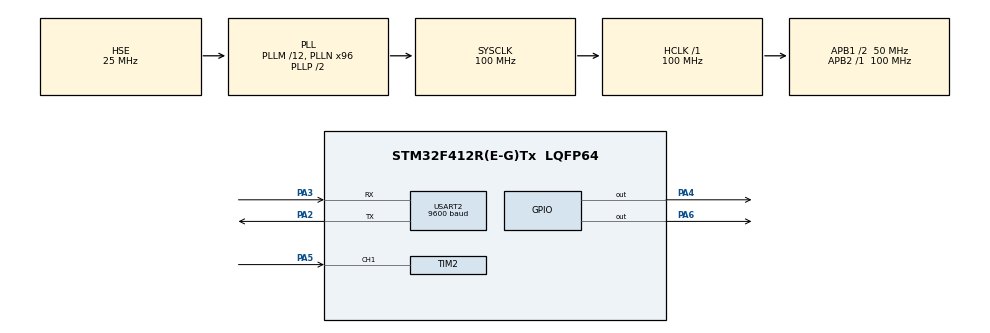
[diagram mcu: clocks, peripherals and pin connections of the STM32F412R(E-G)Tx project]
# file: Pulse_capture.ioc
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Dma.Request0=USART2_RX
Dma.Request1=USART2_TX
Dma.USART2_RX.0.Direction=DMA_PERIPH_TO_MEMORY
Dma.USART2_RX.0.FIFOMode=DMA_FIFOMODE_DISABLE
Dma.USART2_RX.0.Instance=DMA1_Stream5
Dma.USART2_RX.0.MemDataAlignment=DMA_MDATAALIGN_BYTE
Dma.USART2_RX.0.MemInc=DMA_MINC_ENABLE
Dma.USART2_RX.0.Mode=DMA_NORMAL
Dma.USART2_RX.0.PeriphDataAlignment=DMA_PDATAALIGN_BYTE
Dma.USART2_RX.0.PeriphInc=DMA_PINC_DISABLE
Dma.USART2_RX.0.Priority=DMA_PRIORITY_LOW
Dma.USART2_TX.1.Direction=DMA_MEMORY_TO_PERIPH
Dma.USART2_TX.1.FIFOMode=DMA_FIFOMODE_DISABLE
Dma.USART2_TX.1.Instance=DMA1_Stream6
Dma.USART2_TX.1.MemDataAlignment=DMA_MDATAALIGN_BYTE
Dma.USART2_TX.1.MemInc=DMA_MINC_ENABLE
Dma.USART2_TX.1.Mode=DMA_NORMAL
Dma.USART2_TX.1.PeriphDataAlignment=DMA_PDATAALIGN_BYTE
Dma.USART2_TX.1.PeriphInc=DMA_PINC_DISABLE
Dma.USART2_TX.1.Priority=DMA_PRIORITY_LOW
FREERTOS.Queues01=Pulse_Reception_Queue,5,uint8_t,0,Dynamic,NULL,NULL;Pulse_Sending_Queue,5,uint8_t,0,Dynamic,NULL,NULL
FREERTOS.Tasks01=defaultTask,24,128,StartDefaultTask,Default,NULL,Dynamic,NULL,NULL;Pulse_acquisitionTask,8,128,Pulse_acquisition,Default,NULL,Dynamic,NULL,NULL;ScreenTask,8,128,Screen,Default,NULL,Dynamic,NULL,NULL;Screen_TransferTask,8,128,Screen_Transfer,Default,NULL,Dynamic,NULL,NULL
FREERTOS.configMAX_TASK_NAME_LEN=32
Mcu.Family=STM32F4
Mcu.Name=STM32F412R(E-G)Tx
Mcu.Package=LQFP64
NVIC.DMA1_Stream5_IRQn=true\:5\:0\:false\:false\:true\:true\:false\:true\:true
NVIC.DMA1_Stream6_IRQn=true\:5\:0\:false\:false\:true\:true\:false\:true\:true
NVIC.PriorityGroup=NVIC_PRIORITYGROUP_4
NVIC.TIM1_UP_TIM10_IRQn=true\:15\:0\:false\:false\:true\:false\:false\:true\:true
NVIC.TIM2_IRQn=true\:5\:0\:false\:false\:true\:true\:true\:true\:true
NVIC.TimeBase=TIM1_UP_TIM10_IRQn
NVIC.TimeBaseIP=TIM1
NVIC.USART2_IRQn=true\:5\:0\:false\:false\:true\:true\:true\:true\:true
PA13.Mode=JTAG_5_pins
PA13.Signal=SYS_JTMS-SWDIO
PA14.Mode=JTAG_5_pins
PA14.Signal=SYS_JTCK-SWCLK
PA15.Mode=JTAG_5_pins
PA15.Signal=SYS_JTDI
PA2.Mode=Asynchronous
PA2.Signal=USART2_TX
PA3.Mode=Asynchronous
PA3.Signal=USART2_RX
PA4.Signal=GPIO_Output
PA5.GPIO_PuPd=GPIO_PULLDOWN
PA5.Signal=S_TIM2_CH1_ETR
PA6.Signal=GPIO_Output
PB3.Mode=JTAG_5_pins
PB3.Signal=SYS_JTDO-SWO
PB4.Mode=JTAG_5_pins
PB4.Signal=SYS_JTRST
PH0\ -\ OSC_IN.Mode=HSE-External-Oscillator
PH0\ -\ OSC_IN.Signal=RCC_OSC_IN
PH1\ -\ OSC_OUT.Mode=HSE-External-Oscillator
PH1\ -\ OSC_OUT.Signal=RCC_OSC_OUT
ProjectManager.HeapSize=0x200
ProjectManager.StackSize=0x400
ProjectManager.TargetToolchain=MDK-ARM V5.32
RCC.AHBFreq_Value=100000000
RCC.APB1CLKDivider=RCC_HCLK_DIV2
RCC.APB1Freq_Value=50000000
RCC.APB1TimFreq_Value=100000000
RCC.APB2Freq_Value=100000000
RCC.APB2TimFreq_Value=100000000
RCC.CortexFreq_Value=100000000
RCC.HCLKFreq_Value=100000000
RCC.PLLM=12
RCC.PLLN=96
RCC.PLLSourceVirtual=RCC_PLLSOURCE_HSE
RCC.SYSCLKFreq_VALUE=100000000
RCC.SYSCLKSource=RCC_SYSCLKSOURCE_PLLCLK
RCC.USBFreq_Value=100000000
RCC.VCOOutputFreq_Value=200000000
SH.S_TIM2_CH1_ETR.0=TIM2_CH1,Input_Capture1_from_TI1
TIM2.Channel-Input_Capture1_from_TI1=TIM_CHANNEL_1
TIM2.ICPolarity_CH1=TIM_INPUTCHANNELPOLARITY_BOTHEDGE
TIM2.Period=999
TIM2.Prescaler=99
USART2.BaudRate=9600
USART2.VirtualMode=VM_ASYNC
VP_FREERTOS_VS_CMSIS_V2.Mode=CMSIS_V2
VP_SYS_VS_tim1.Mode=TIM1
board=custom

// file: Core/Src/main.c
/* USER CODE BEGIN Header */
/**
  ******************************************************************************
  * @file           : main.c
  * @brief          : Main program body
  ******************************************************************************
  * @attention
  *
  * Copyright (c) 2024 STMicroelectronics.
  * All rights reserved.
  *
  * This software is licensed under terms that can be found in the LICENSE file
  * in the root directory of this software component.
  * If no LICENSE file comes with this software, it is provided AS-IS.
  *
  ******************************************************************************
  */
/* USER CODE END Header */
#include "main.h"
#include "cmsis_os.h"
#include "dma.h"
#include "tim.h"
#include "usart.h"
#include "gpio.h"

/* USER CODE BEGIN Includes */
#include "tjc_usart_hmi.h"
/* USER CODE END Includes */

void SystemClock_Config(void);
void MX_FREERTOS_Init(void);

int main(void)
{

  /* MCU Configuration--------------------------------------------------------*/

  /* Reset of all peripherals, Initializes the Flash interface and the Systick. */
  HAL_Init();

  /* Configure the system clock */
  SystemClock_Config();

  /* Initialize all configured peripherals */
  MX_GPIO_Init();
  MX_DMA_Init();
  MX_TIM2_Init();
  MX_USART2_UART_Init();
  /* USER CODE BEGIN 2 */
	HAL_TIM_IC_Start_IT(&htim2,TIM_CHANNEL_1);		//开启定时器2通道一的捕获中断
	__HAL_TIM_ENABLE_IT(&htim2,TIM_IT_UPDATE);    //使能更新中断
	initRingBuff();																//初始化环形缓存区
	HAL_UART_Receive_IT(&huart2,RxBuff,1);				//打开串口接收中断
	TJCPrintf("0x00");         							  		//为确保串口HMI正常通信
  /* USER CODE END 2 */

  /* Init scheduler */
  osKernelInitialize();  /* Call init function for freertos objects (in freertos.c) */
  MX_FREERTOS_Init();

  /* Start scheduler */
  osKernelStart();

  /* We should never get here as control is now taken by the scheduler */
  /* Infinite loop */
  while (1)
  {

  }
}

void SystemClock_Config(void)
{
  RCC_OscInitTypeDef RCC_OscInitStruct = {0};
  RCC_ClkInitTypeDef RCC_ClkInitStruct = {0};

  /** Configure the main internal regulator output voltage
  */
  __HAL_RCC_PWR_CLK_ENABLE();
  __HAL_PWR_VOLTAGESCALING_CONFIG(PWR_REGULATOR_VOLTAGE_SCALE1);

  /** Initializes the RCC Oscillators according to the specified parameters
  * in the RCC_OscInitTypeDef structure.
  */
  RCC_OscInitStruct.OscillatorType = RCC_OSCILLATORTYPE_HSE;
  RCC_OscInitStruct.HSEState = RCC_HSE_ON;
  RCC_OscInitStruct.PLL.PLLState = RCC_PLL_ON;
  RCC_OscInitStruct.PLL.PLLSource = RCC_PLLSOURCE_HSE;
  RCC_OscInitStruct.PLL.PLLM = 12;
  RCC_OscInitStruct.PLL.PLLN = 96;
  RCC_OscInitStruct.PLL.PLLP = RCC_PLLP_DIV2;
  RCC_OscInitStruct.PLL.PLLQ = 2;
  RCC_OscInitStruct.PLL.PLLR = 2;
  if (HAL_RCC_OscConfig(&RCC_OscInitStruct) != HAL_OK)
  {
    Error_Handler();
  }

  /** Initializes the CPU, AHB and APB buses clocks
  */
  RCC_ClkInitStruct.ClockType = RCC_CLOCKTYPE_HCLK|RCC_CLOCKTYPE_SYSCLK
                              |RCC_CLOCKTYPE_PCLK1|RCC_CLOCKTYPE_PCLK2;
  RCC_ClkInitStruct.SYSCLKSource = RCC_SYSCLKSOURCE_PLLCLK;
  RCC_ClkInitStruct.AHBCLKDivider = RCC_SYSCLK_DIV1;
  RCC_ClkInitStruct.APB1CLKDivider = RCC_HCLK_DIV2;
  RCC_ClkInitStruct.APB2CLKDivider = RCC_HCLK_DIV1;

  if (HAL_RCC_ClockConfig(&RCC_ClkInitStruct, FLASH_LATENCY_3) != HAL_OK)
  {
    Error_Handler();
  }
}

/* USER CODE BEGIN 4 */
//void HAL_TIM_PeriodElapsedCallback(TIM_HandleTypeDef *htim)		//计数溢出回调函数
//{
//	if(TIM2 == htim->Instance)
//	{
//		if(IC_DONE_FLAG == 0)  // 未完成捕获
//		{
//			if(IC_START_FLAG == 1)  // 已经捕获到了高电平
//			{
//				IC_TIMES++;  // 捕获次数加一
//			}
//		}
//	}
//}

void HAL_TIM_IC_CaptureCallback(TIM_HandleTypeDef *htim)		//输入捕获回调函数
{
	if(TIM2 == htim->Instance)
	{
		if(IC_DONE_FLAG == 0)  // 未完成捕获
		{
			if(IC_START_FLAG == 1)  // 原来是高电平，现在捕获到一个下降沿
			{
				IC_VALUE = HAL_TIM_ReadCapturedValue(&htim2, TIM_CHANNEL_1);  // 获取捕获值
				TIM_RESET_CAPTUREPOLARITY(&htim2,TIM_CHANNEL_1);  //先清除原来的捕获极性
				TIM_SET_CAPTUREPOLARITY(&htim2,TIM_CHANNEL_1,TIM_ICPOLARITY_RISING);// 配置为上升沿捕获
				IC_START_FLAG = 0;  // 标志复位
				IC_DONE_FLAG = 1;  // 完成一次高电平捕获
			}
			else  // 捕获还未开始，第一次捕获到上升沿
			{
				IC_TIMES = 0;  // 捕获次数清零
				IC_VALUE = 0;  // 捕获值清零
				IC_START_FLAG = 1;  // 设置捕获到了上边沿的标志
				TIM_RESET_CAPTUREPOLARITY(&htim2,TIM_CHANNEL_1);  //先清除原来的捕获极性
				TIM_SET_CAPTUREPOLARITY(&htim2,TIM_CHANNEL_1,TIM_ICPOLARITY_FALLING);// 配置为下降沿捕获
			}
			__HAL_TIM_SET_COUNTER(&htim2,0);  // 定时器计数值清零
		}
	}

}
/* USER CODE END 4 */

void HAL_TIM_PeriodElapsedCallback(TIM_HandleTypeDef *htim)
{
  if (htim->Instance == TIM1) {
    HAL_IncTick();
  }
  /* USER CODE BEGIN Callback 1 */
	else if(TIM2 == htim->Instance)
	{
		if(IC_DONE_FLAG == 0)  // 未完成捕获
		{
			if(IC_START_FLAG == 1)  // 已经捕获到了高电平
			{
				IC_TIMES++;  // 捕获次数加一
			}
		}
	}
  /* USER CODE END Callback 1 */
}

void Error_Handler(void)
{
  __disable_irq();
  while (1)
  {
  }
}

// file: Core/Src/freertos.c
/* USER CODE BEGIN Header */
/**
  ******************************************************************************
  * File Name          : freertos.c
  * Description        : Code for freertos applications
  ******************************************************************************
  * @attention
  *
  * Copyright (c) 2024 STMicroelectronics.
  * All rights reserved.
  *
  * This software is licensed under terms that can be found in the LICENSE file
  * in the root directory of this software component.
  * If no LICENSE file comes with this software, it is provided AS-IS.
  *
  ******************************************************************************
  */
/* USER CODE END Header */

#include "FreeRTOS.h"
#include "task.h"
#include "main.h"
#include "cmsis_os.h"

/* USER CODE BEGIN Includes */
#include "tjc_usart_hmi.h"
/* USER CODE END Includes */

/* USER CODE BEGIN PTD */
uint32_t IC_TIMES;  		// 捕获次数，单位1ms
uint8_t IC_START_FLAG;  // 捕获开始标志，1：已捕获到高电平；0：还没有捕获到高电平
uint8_t IC_DONE_FLAG;  	// 捕获完成标志，1：已完成一次高电平捕获
uint16_t IC_VALUE;  		// 输入捕获的捕获值
uint32_t Pulse_count_total=0;	// 输入捕获的总上升沿数量
uint16_t Pulse_count=0;	// 输入捕获的一段上升沿数量
uint16_t Pulse_Cycle_Unqualified=0;  //脉冲周期不合格数
/* USER CODE END PTD */

/* USER CODE BEGIN PD */
#define FRAMELENGTH 6	//接受屏幕数据字节数
#define Standard_Cycle 1000		//标准周期
#define Error_Criteria 50			//误差标准
#define Pulse_Filtering 800   //脉冲滤波
#define Pulse_Filtering 800   //脉冲滤波
#define Interval 500 //一帧脉冲间隔ms
/* USER CODE END PD */

/* Definitions for defaultTask */
osThreadId_t defaultTaskHandle;
const osThreadAttr_t defaultTask_attributes = {
  .name = "defaultTask",
  .stack_size = 128 * 4,
  .priority = (osPriority_t) osPriorityNormal,
};
/* Definitions for Pulse_acquisitionTask */
osThreadId_t Pulse_acquisitionTaskHandle;
const osThreadAttr_t Pulse_acquisitionTask_attributes = {
  .name = "Pulse_acquisitionTask",
  .stack_size = 128 * 4,
  .priority = (osPriority_t) osPriorityLow,
};
/* Definitions for ScreenTask */
osThreadId_t ScreenTaskHandle;
const osThreadAttr_t ScreenTask_attributes = {
  .name = "ScreenTask",
  .stack_size = 128 * 4,
  .priority = (osPriority_t) osPriorityLow,
};
/* Definitions for Screen_TransferTask */
osThreadId_t Screen_TransferTaskHandle;
const osThreadAttr_t Screen_TransferTask_attributes = {
  .name = "Screen_TransferTask",
  .stack_size = 128 * 4,
  .priority = (osPriority_t) osPriorityLow,
};
/* Definitions for Pulse_Reception_Queue */
osMessageQueueId_t Pulse_Reception_QueueHandle;
const osMessageQueueAttr_t Pulse_Reception_Queue_attributes = {
  .name = "Pulse_Reception_Queue"
};
/* Definitions for Pulse_Sending_Queue */
osMessageQueueId_t Pulse_Sending_QueueHandle;
const osMessageQueueAttr_t Pulse_Sending_Queue_attributes = {
  .name = "Pulse_Sending_Queue"
};

void StartDefaultTask(void *argument);
void Pulse_acquisition(void *argument);
void Screen(void *argument);
void Screen_Transfer(void *argument);

void MX_FREERTOS_Init(void); /* (MISRA C 2004 rule 8.1) */

void MX_FREERTOS_Init(void) {

  /* Create the queue(s) */
  /* creation of Pulse_Reception_Queue */
  Pulse_Reception_QueueHandle = osMessageQueueNew (5, 6*sizeof(uint8_t), &Pulse_Reception_Queue_attributes);

  /* creation of Pulse_Sending_Queue */
  Pulse_Sending_QueueHandle = osMessageQueueNew (5, 6*sizeof(uint8_t), &Pulse_Sending_Queue_attributes);

  /* Create the thread(s) */
  /* creation of defaultTask */
  defaultTaskHandle = osThreadNew(StartDefaultTask, NULL, &defaultTask_attributes);

  /* creation of Pulse_acquisitionTask */
  Pulse_acquisitionTaskHandle = osThreadNew(Pulse_acquisition, NULL, &Pulse_acquisitionTask_attributes);

  /* creation of ScreenTask */
  ScreenTaskHandle = osThreadNew(Screen, NULL, &ScreenTask_attributes);

  /* creation of Screen_TransferTask */
  Screen_TransferTaskHandle = osThreadNew(Screen_Transfer, NULL, &Screen_TransferTask_attributes);

}

void StartDefaultTask(void *argument)
{
  for(;;)
  {
    osDelay(1);
  }
}

void Pulse_acquisition(void *argument)
{
  /* USER CODE BEGIN Pulse_acquisition */
	HAL_GPIO_WritePin(GPIOA, GPIO_PIN_6, GPIO_PIN_RESET);//配置DIR引脚低电平，电平转换器B->A
	uint32_t Pulse_Cycle= 0;//脉冲周期
	uint8_t Pulse_Cycle_array[6];	//脉冲周期数组
  /* Infinite loop */
  for(;;)
  {
    osDelay(1);
		if(IC_DONE_FLAG == 1)	// 如果完成一次高电平捕获
		{
			IC_DONE_FLAG = 0;	//标志清零
			Pulse_Cycle = IC_TIMES * 1000;	//脉冲时间为捕获次数 * 1000us
			Pulse_Cycle += IC_VALUE;	 // 加上捕获时间（小于1ms的部分)
			if(Pulse_Cycle>Pulse_Filtering)	//滤波
			{
				Pulse_Cycle_array[0]=0x55;
				Pulse_Cycle_array[1]=Pulse_Cycle&0xff;
				Pulse_Cycle_array[2]=(Pulse_Cycle>>8)&0xff;
				Pulse_Cycle_array[3]=(Pulse_Cycle>>16)&0xff;
				Pulse_Cycle_array[4]=(Pulse_Cycle>>24)&0xff;
				Pulse_Cycle_array[5]=0xff;
				osMessageQueuePut(Pulse_Reception_QueueHandle,Pulse_Cycle_array,1,0);
			}
		}
  }
  /* USER CODE END Pulse_acquisition */
}

void Screen(void *argument)
{
  /* USER CODE BEGIN Screen */
	uint32_t Pulse_Cycle_Send=0;
	uint8_t status=0;
	uint8_t Pulse_Cycle_Send_array[6];	//脉冲周期发送数组
	int32_t Pulse_Cycle_difference=0;  //脉冲周期差
	uint32_t TIME=0;
  /* Infinite loop */
  for(;;)
  {
    osDelay(1);
		status=osMessageQueueGet(Pulse_Reception_QueueHandle,Pulse_Cycle_Send_array,NULL,Interval);
		if(status!=osOK)	//一段时间（500ms）未收到脉冲
		{
			Pulse_count=0;	//当前段脉冲上升沿数量清零
			Pulse_Cycle_Unqualified=0;//脉冲周期不合格数清零
			TJCPrintf("t8.txt=\"%d\"",0);	//显示周期差清0
			TJCPrintf("t4.txt=\"%d\"",0);	//显示周期	清0
			TJCPrintf("t7.txt=\"%d\"",0);	//显示一段脉冲上升沿数量清0
			TJCPrintf("t6.txt=\"%d\"",0);	//显示脉冲周期不合格数清0
		}
		else
		{
			if(Pulse_Cycle_Send_array[0]==0x55&&Pulse_Cycle_Send_array[5]==0xff)
			{
				Pulse_count_total++;	//脉冲上升沿总数
				Pulse_count++;	//一段数脉冲上升沿数量
				Pulse_Cycle_Send=Pulse_Cycle_Send_array[1]|(Pulse_Cycle_Send_array[2]<<8)|(Pulse_Cycle_Send_array[3]<<16)|(Pulse_Cycle_Send_array[4]<<24);
				Pulse_Cycle_difference=Pulse_Cycle_Send-TIME;	//周期差
				TJCPrintf("t8.txt=\"%d\"",Pulse_Cycle_difference);	//显示周期差
				TJCPrintf("t4.txt=\"%d\"",Pulse_Cycle_Send);	//显示周期
				TJCPrintf("t7.txt=\"%d\"",Pulse_count);	//显示一段脉冲上升沿数量
				TJCPrintf("t10.txt=\"%d\"",Pulse_count_total);	//显示脉冲上升沿总数量
				TIME=Pulse_Cycle_Send;	//记录当前周期

				if(TIME!=0&&((Pulse_Cycle_Send-Standard_Cycle>Error_Criteria)||(Standard_Cycle-Pulse_Cycle_Send>Error_Criteria))) //TIME不等于0，且周期误差大于误差标注
				{
					Pulse_Cycle_Unqualified++;
					TJCPrintf("t6.txt=\"%d\"",Pulse_Cycle_Unqualified);	//显示脉冲周期不合格数
				}
			}
		}
  }
  /* USER CODE END Screen */
}

void Screen_Transfer(void *argument)
{
  /* USER CODE BEGIN Screen_Transfer */
  /* Infinite loop */
  for(;;)
  {
		osDelay(1);
		while(usize >= FRAMELENGTH)//串口缓存区数量大于6
	  {
		  //校验帧头帧尾是否匹配
		  if(u(0) != 0x55 || u(3) != 0xff || u(4) != 0xff || u(5) != 0xff)
		  {
			  //不匹配删除1字节
			  udelete(1);
		  }else
		  {
			  //匹配，跳出循环
			  break;
		  }
	  }

	  //进行解析
	  if(usize >= FRAMELENGTH && u(0) == 0x55 && u(3) == 0xff && u(4) == 0xff && u(5) == 0xff)
	  {
			if(u(1) == 0x01)
			{
				Pulse_count_total=0;//脉冲上升沿总数清零
				Pulse_count=0;//一段脉冲上升沿总数清零
				Pulse_Cycle_Unqualified=0;//脉冲周期不合格数清零
			}
		  udelete(FRAMELENGTH);//删除串口缓冲区中相应长度的数据
	  }

  }
  /* USER CODE END Screen_Transfer */
}
